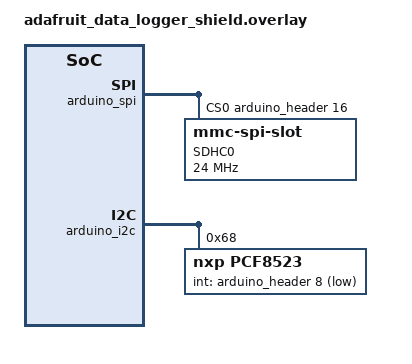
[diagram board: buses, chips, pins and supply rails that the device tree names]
/*
 * Copyright (c) 2019 Henrik Brix Andersen <henrik@brixandersen.dk>
 *
 * SPDX-License-Identifier: Apache-2.0
 */

&arduino_spi {
	status = "okay";
	cs-gpios = <&arduino_header 16 0>; /* D10 */

	sdhc0: sdhc@0 {
		compatible = "zephyr,mmc-spi-slot";
		reg = <0>;
		status = "okay";
		label = "SDHC0";
		spi-max-frequency = <24000000>;
	};
};

&arduino_i2c {
	status = "okay";

	pcf8523@68 {
		compatible = "nxp,pcf8523";
		reg = <0x68>;
		/* Uncomment the following line to enable interrupts */
		int-gpios = <&arduino_header 8 GPIO_ACTIVE_LOW>;
		label = "PCF8523";
	};
};
